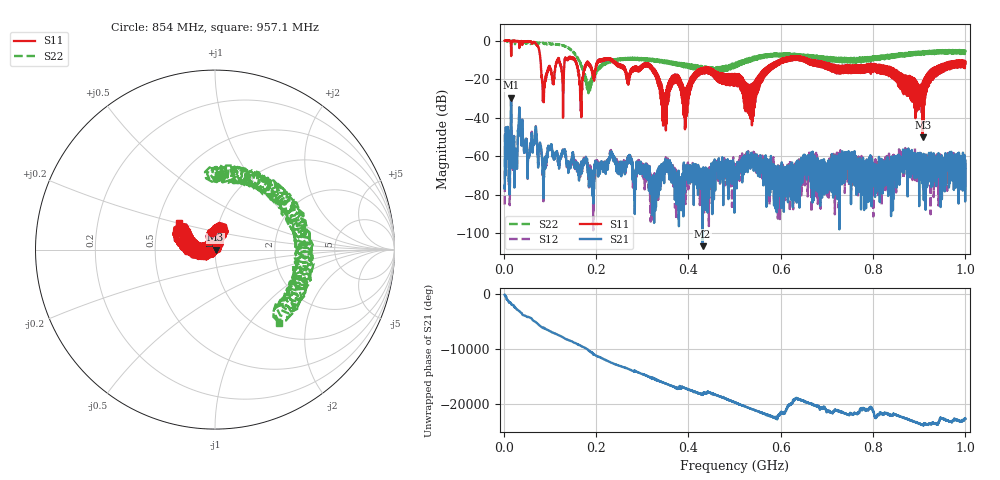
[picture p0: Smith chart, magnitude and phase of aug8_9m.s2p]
!Keysight Technologies N9923A: A.12.45
!Date: Friday, 08 August 2025 17:32:15
!Timezone: (UTC+08:00) Kuala Lumpur, Singapore
!Model: N9923A
!Serial: MY61181427
!GPS Latitude:
!GPS Longitude:
!GPS TimeStamp: 0001-01-01 00:00:00Z
!GPS Seconds Since Last Read: 0
!CHECKSUM:1403769527
!Correction: S11(ON U)S21(ON U)S12(ON U)S22(ON U)
!S2P File: Measurements:S11,S21,S12,S22:
# Hz S DB R 50
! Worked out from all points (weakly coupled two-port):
!   4001 points, 2 MHz to 1 GHz, reference 50 ohm
!   highest |S21| = -29.74 dB at 15.97 MHz (marker M1); lowest = -106.8 dB at 430.6 MHz (marker M2)
!   lowest |S11| = -50.2 dB at 907.4 MHz (marker M3), VSWR 1.01, Z = 50.3 + j0.00101 ohm
!   |S11| at or under -10 dB: 155 MHz to 206 MHz (51.03 MHz wide, 28.3 % of centre); 234.5 MHz to 599.4 MHz (364.9 MHz wide, 87.5 % of centre); 663.7 MHz to end of sweep (the widest 3 of 65)
!   |S22| runs from -27.4 to 0.0 dB; largest |S21 - S12| = 0.0016
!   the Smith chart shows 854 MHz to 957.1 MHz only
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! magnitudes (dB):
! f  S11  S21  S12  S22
! 2 MHz  -0.1  -75.5  -85.2  0.0
! 15.97 MHz  -6.5  -29.7  -29.8  -0.8
! 35.93 MHz  -0.6  -42.7  -42.5  -1.2
! 48.91 MHz  -0.6  -51.4  -51.7  -1.6
! 72.11 MHz  -2.3  -52.4  -52.3  -0.9
! 86.83 MHz  -32.1  -71.3  -72.2  -1.5
! 100.1 MHz  -14.4  -55.9  -55.6  -1.8
! 145.2 MHz  -8.6  -64.1  -62.4  -5.0
! 168.4 MHz  -35.4  -69.3  -66.6  -13.0
! 185.1 MHz  -12.6  -73.3  -71.6  -26.7
! 222.6 MHz  -9.2  -63.9  -63.8  -11.2
! 334.8 MHz  -19.5  -72.5  -67.7  -11.2
! 348.3 MHz  -36.2  -64.7  -64.1  -11.7
! 392.7 MHz  -46.1  -65.9  -65.8  -12.0
! 430.6 MHz  -16.6  -106.8  -70.3  -16.1
! 501 MHz  -17.3  -66.8  -72.0  -14.1
! 535.2 MHz  -22.8  -61.6  -61.5  -9.7
! 595.3 MHz  -12.7  -69.2  -67.1  -8.3
! 667.4 MHz  -10.5  -63.6  -64.2  -8.2
! 833.8 MHz  -17.6  -64.8  -66.6  -8.1
! 907.4 MHz  -50.2  -60.3  -62.5  -7.0
! 1 GHz  -12.0  -62.4  -67.4  -6.1
